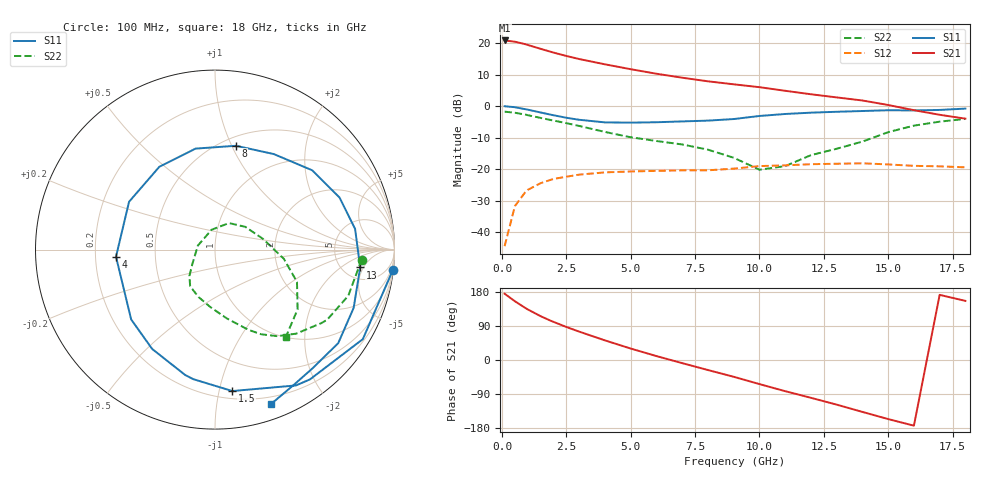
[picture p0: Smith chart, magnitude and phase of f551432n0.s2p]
!ATF-55143
!s-parameters at Vds=2.7V, Id=10mA. Last updated 12/2/02 AR.
# GHZ S MA R 50
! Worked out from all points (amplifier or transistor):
!   24 points, 100 MHz to 18 GHz, reference 50 ohm
!   highest |S21| = 20.9 dB at 100 MHz (marker M1)
!   |S21| within 3 dB of that: start of sweep to 1.643 GHz
!   unconditionally stable (mu >= 1): 5.685 GHz to end of sweep
!   at 1.5 GHz: K = 0.31, MSG = 21.3 dB, |S12| = -24.4 dB
!   at 7 GHz: K = 1.16, MAG = 12.3 dB, |S12| = -20.4 dB
!   at 18 GHz: K = 1.11, MAG = 5.7 dB, |S12| = -19.4 dB
!   lowest NFmin = 0.20 dB at 500 MHz
!   S11 on the Smith chart (normalised r, x): 100 MHz: 0, -18; 1.5 GHz: 0.26, -1.10; 4 GHz: 0.29, -0.03; 8 GHz: 0.58, +1.04; 13 GHz: 7.24, -4.28; 18 GHz: 0.13, -1.42
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0.1  0.998 -6.4  11.04 174.9  0.006 86.2  0.819 -3.9
0.5  0.963 -31.2  10.55 155.0  0.026 70.4  0.786 -19.1
0.9  0.896 -53.8  9.641 137.5  0.043 57.3  0.737 -32.0
1  0.881 -59.2  9.376 133.4  0.047 54.4  0.72 -34.7
1.5  0.794 -83.0  8.133 115.6  0.06 42.2  0.651 -46.0
1.9  0.732 -99.5  7.284 103.3  0.068 34.4  0.602 -52.9
2.5  0.655 -122.3  6.267 87.1  0.076 24.8  0.538 -61.3
3  0.608 -140.2  5.599 74.8  0.082 17.9  0.485 -67.3
4  0.553 -175.9  4.615 51.7  0.089 5.6  0.39 -80.1
5  0.548 150.9  3.862 30.2  0.092 -5.4  0.321 -94.7
6  0.556 123.9  3.272 10.3  0.094 -14.6  0.28 -109.0
7  0.573 100.9  2.83 -8.3  0.096 -23.9  0.247 -124.1
8  0.59 78.6  2.481 -26.5  0.096 -32.8  0.204 -134.3
9  0.625 58.4  2.224 -44.3  0.102 -38.0  0.152 -146.7
10  0.699 39.2  2.002 -63.6  0.112 -49.7  0.098 166.8
11  0.752 22.7  1.755 -82.3  0.115 -61.1  0.112 100.0
12  0.789 8.4  1.546 -99.8  0.12 -72.4  0.167 62.3
13  0.815 -7.0  1.378 -117.8  0.122 -84.7  0.211 37.0
14  0.838 -22.8  1.231 -137.0  0.124 -98.3  0.274 12.6
15  0.862 -37.2  1.044 -155.9  0.119 -111.8  0.387 -7.6
16  0.856 -50.5  0.864 -173.3  0.113 -124.4  0.491 -21.5
18  0.915 -70.0  0.634 156.0  0.107 -149.4  0.628 -51.2
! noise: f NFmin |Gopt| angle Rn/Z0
0.5  0.2  0.64  19  0.12
0.9  0.26  0.59  22.7  0.12
1.9  0.39  0.54  48.3  0.11
2  0.4  0.54  49.9  0.11
3  0.57  0.39  75.6  0.09
3.9  0.72  0.26  108.7  0.07
5.8  1.02  0.22  -154.8  0.07
6  1.04  0.21  -147.8  0.08
8  1.39  0.32  -75  0.23
10  1.65  0.53  -33.6  0.54
